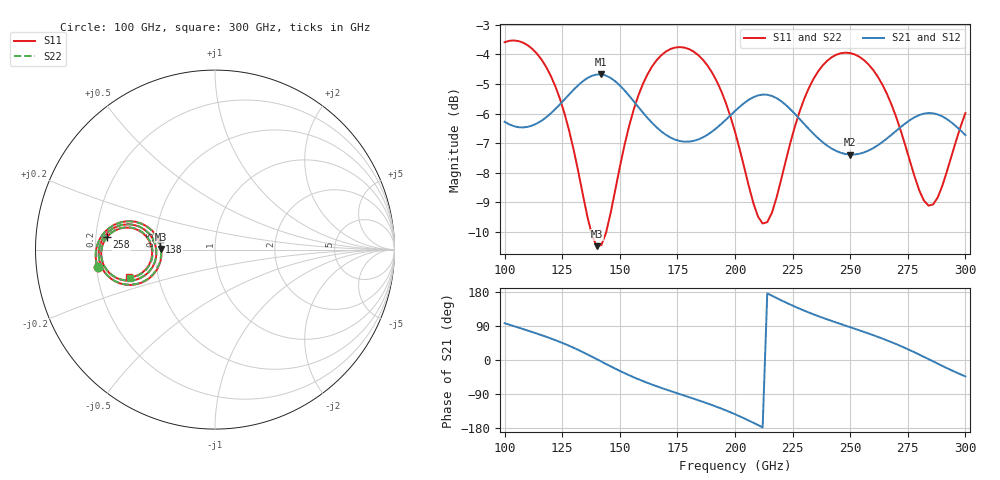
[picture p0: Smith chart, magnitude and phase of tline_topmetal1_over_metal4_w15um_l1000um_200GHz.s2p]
#  GHZ S DB R 50
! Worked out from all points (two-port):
!   101 points, 100 GHz to 300 GHz, reference 50 ohm
!   highest |S21| = -4.68 dB at 142 GHz (marker M1); lowest = -7.4 dB at 250 GHz (marker M2)
!   |S21| within 3 dB of the highest: start of sweep to end of sweep
!   lowest |S11| = -10.5 dB at 140 GHz (marker M3), VSWR 1.85, Z = 27 + j0.2 ohm
!   |S11| at or under -10 dB: 137.6 GHz to 144.1 GHz (6.493 GHz wide, 4.61 % of centre)
!   |S22| runs from -10.4 to -3.5 dB; largest |S21 - S12| = 6.7e-14
!   S11 on the Smith chart (normalised r, x): 100 GHz: 0.21, -0.07; 138 GHz: 0.53, +0.05; 258 GHz: 0.25, +0.05; 300 GHz: 0.34, -0.14
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100  -3.59 -171.6  -6.28 97.2  -6.28 97.2  -3.59 -171.6
110  -3.70 177.0  -6.45 77.7  -6.45 77.7  -3.69 177.0
120  -4.72 166.4  -6.00 57.0  -6.00 57.0  -4.71 166.5
128  -6.57 160.7  -5.36 37.6  -5.36 37.6  -6.55 160.8
134  -8.75 163.2  -4.91 20.7  -4.91 20.7  -8.71 163.4
138  -10.13 172.4  -4.72 8.5  -4.72 8.5  -10.07 172.4
140  -10.47 179.4  -4.68 2.3  -4.68 2.3  -10.41 179.3
142  -10.44 -173.1  -4.68 -4.1  -4.68 -4.1  -10.38 -173.2
154  -6.43 -156.1  -5.39 -40.1  -5.39 -40.1  -6.42 -156.3
168  -4.03 -168.6  -6.60 -73.6  -6.60 -73.6  -4.03 -168.7
184  -4.03 174.8  -6.88 -106.1  -6.88 -106.1  -4.02 174.6
200  -6.61 163.1  -5.92 -143.1  -5.92 -143.1  -6.61 163.0
210  -9.48 174.5  -5.39 -171.8  -5.39 -171.8  -9.48 174.3
216  -9.35 -168.7  -5.41 169.8  -5.41 169.8  -9.35 -168.8
224  -7.00 -159.1  -5.85 146.3  -5.85 146.3  -7.00 -159.2
234  -4.84 -164.0  -6.68 120.7  -6.68 120.7  -4.84 -164.2
250  -3.96 -179.2  -7.38 86.5  -7.38 86.5  -3.97 -179.3
258  -4.35 173.5  -7.25 69.8  -7.25 69.8  -4.36 173.3
268  -5.71 166.3  -6.71 46.9  -6.71 46.9  -5.74 166.1
284  -9.11 -179.5  -5.98 2.3  -5.98 2.3  -9.19 -179.5
290  -8.43 -166.7  -6.10 -15.6  -6.10 -15.6  -8.50 -166.5
300  -5.98 -162.0  -6.73 -43.4  -6.73 -43.4  -6.01 -161.8
